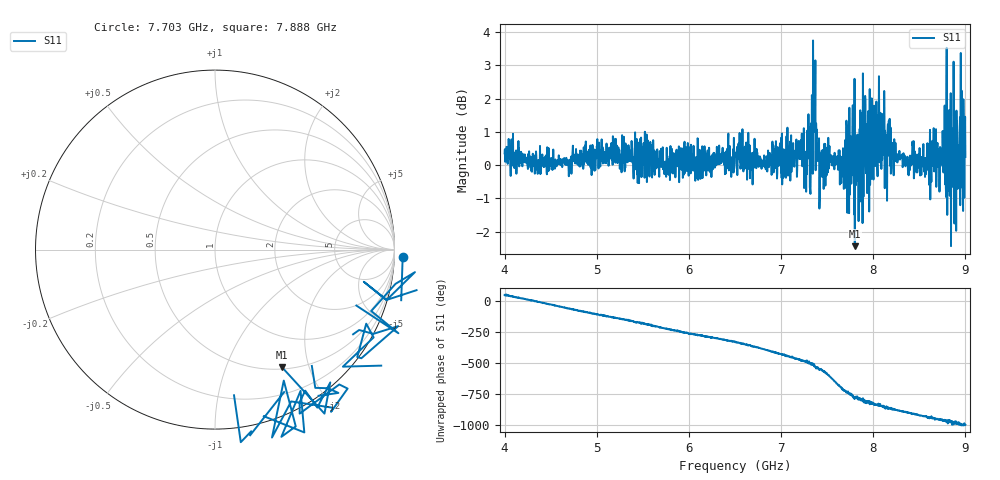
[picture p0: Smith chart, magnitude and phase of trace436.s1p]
! Created with skrf 1.8.0 (http://scikit-rf.org).
# Hz S RI R 50.0
!freq ReS11 ImS11
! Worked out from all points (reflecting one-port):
!   1601 points, 4 GHz to 9 GHz, reference 50 ohm
!   lowest |S11| = -2.4 dB at 7.8 GHz (marker M1), VSWR 7.19, Z = 26.1 - j79.8 ohm
!   phase of S11 starts at 51 deg and turns -1047 deg over the sweep
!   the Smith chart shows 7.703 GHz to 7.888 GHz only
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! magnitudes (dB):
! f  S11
! 4 GHz  0.4
! 4.625 GHz  -0.1
! 5.25 GHz  -0.1
! 5.875 GHz  0.0
! 6.5 GHz  0.3
! 7.125 GHz  0.3
! 7.297 GHz  1.5
! 7.359 GHz  1.5
! 7.372 GHz  3.1
! 7.4 GHz  0.3
! 7.441 GHz  0.4
! 7.525 GHz  0.6
! 7.75 GHz  0.0
! 7.8 GHz  -2.4
! 7.859 GHz  1.6
! 7.891 GHz  0.0
! 7.956 GHz  -1.4
! 8.009 GHz  1.8
! 8.022 GHz  0.0
! 8.097 GHz  0.2
! 8.375 GHz  0.0
! 8.709 GHz  0.4
! 8.775 GHz  1.8
! 8.825 GHz  1.7
! 8.884 GHz  1.3
! 8.919 GHz  0.0
! 8.959 GHz  2.2
! 9 GHz  0.2
